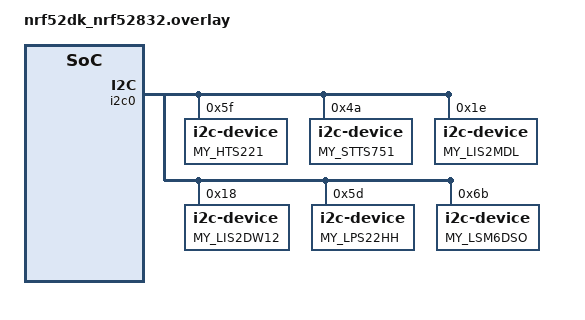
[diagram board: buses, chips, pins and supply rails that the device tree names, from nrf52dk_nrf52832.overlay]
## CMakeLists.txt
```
# SPDX-License-Identifier: Apache-2.0

cmake_minimum_required(VERSION 3.20.0)

find_package(Zephyr REQUIRED HINTS $ENV{ZEPHYR_BASE})
project(hello_world)

target_include_directories(app PRIVATE inc)

target_sources(app PRIVATE src/homework_6.c)
```

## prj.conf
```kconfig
# General
CONFIG_SMF=y
CONFIG_EVENTS=y

# Logger Module and printk Module
CONFIG_LOG=y
CONFIG_LOG_PRINTK=y

# Float Point Unit (for sending data via bluetooth, limited to 23 bytes)
CONFIG_FPU=y

# Bluetooth Module
CONFIG_BT=y
CONFIG_BT_PERIPHERAL=y

CONFIG_BT_DEVICE_NAME="Arty_Chan"

# The hardware and board expansion module
CONFIG_I2C=y
```

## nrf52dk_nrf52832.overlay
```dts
// To get started, press Ctrl+Space to bring up the completion menu and view the available nodes.

// You can also use the buttons in the sidebar to perform actions on nodes.
// Actions currently available include:

// * Enabling / disabling the node
// * Adding the bus to a bus
// * Removing the node
// * Connecting ADC channels

// For more help, browse the DeviceTree documentation at https://docs.zephyrproject.org/latest/guides/dts/index.html
// You can also visit the nRF DeviceTree extension documentation at https://nrfconnect.github.io/vscode-nrf-connect/devicetree/nrfdevicetree.html


// This is for the Zephry Overlay Setup
&i2c0{
    // Capactive digital relatice humidity and temperature [measures temp of an external transistor] [originally was 0xbe but shifted 1 and now 0x5f] IMPLEMENTED IN CODE 
    my_hts221: my_hts221@5f{
        compatible = "i2c-device";
        reg = < 0x5f >;
        label = "MY_HTS221";
    };

    // Temperature sensor (-40C to 125C) [physcial properties] [originally was 0x94 but shifted 1 and now 0x4a] IMPLEMENTED IN CODE
    my_stts751: my_stts751@4a{
        compatible = "i2c-device";
        reg = < 0x4a >;
        label = "MY_STTS751";
    };

    // MEMs 3D Magnetometer (+-50 gauss) [orignally was 0x3c but shifted 1 and now 0x1e] IMPLEMENTED IN CODE
    my_lis2mdl: my_lis2mdl@1e{
        compatible = "i2c-device";
        reg = < 0x1e >;
        label = "MY_LIS2MDL";
    };

    // MEMs 3D Accelerometer (+-2, +-4, +-8, +-16 g) [originally was 0x30 but shifted 1 and now 0x18] IMPLEMENTED IN CODE
    my_lis2dw12: my_lis2dw12@18{
        compatible = "i2c-device";
        reg = < 0x18 >;
        label = "MY_LIS2DW12";
    };

    // MEMs pressure sensor (260-1260 hPa absolute digital output barometer)
    my_lps22hh: my_lps22hh@5d{
        compatible = "i2c-device";
        reg = < 0x5d >;
        label = "MY_LPS22HH";
    };

    //MEMS 3D Accelerometer + 3D Gyroscope
    my_lsm6dso: my_lsm6dso@6b{
        compatible = "i2c-device";
        reg = < 0x6b >;
        label = "MY_LSM6DSO";
    };
};
```

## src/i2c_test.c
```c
/*
 * Link for Nucleo Datasheet: https://www.st.com/resource/en/data_brief/x-nucleo-iks01a3.pdf 
 * Link for Dev Academy: https://academy.nordicsemi.com/courses/nrf-connect-sdk-fundamentals/
 * Link for Nucleo Datasheet: https://www.st.com/resource/en/user_manual/um2559-getting-started-with-the-xnucleoiks01a3-motion-mems-and-environmental-sensor-expansion-board-for-stm32-nucleo-stmicroelectronics.pdf 
 * 
 * HINT:
 * WHEN ADDING A NEW SENSOR TO THE OVERLAY FILE, I NEED TO REBUILD THE ENTIRE PROGRAM
*/

/***
 * File to test that I2C is working with the HTS221. 
 * NOTE: The sensor and the nRF board are a bit picky.
 *       Since there is no RESET button on the sensor
 *          board, you'll have to unplug your nRF board
 *          if you get an I2C error (just something got
 *          goofed) and replug in.
 * NOTE: Also, make sure you do a pristine build (circle arrow icon).
 * 
*/

#include <zephyr/kernel.h>
#include <zephyr/device.h>
#include <zephyr/drivers/gpio.h>
#include <zephyr/smf.h>
#include <zephyr/logging/log.h>
#include <zephyr/drivers/i2c.h>


LOG_MODULE_REGISTER(i2c_test, LOG_LEVEL_DBG);


void main(void) {
    uint8_t i2c_buf_write[2], i2c_buf_read[2];
    int err;
    LOG_INF("Board is up!  Setting up I2C...");
    const struct i2c_dt_spec hts221_dt_spec = I2C_DT_SPEC_GET(DT_NODELABEL(my_hts221));
    if (!device_is_ready(hts221_dt_spec.bus)) {
        LOG_ERR("I2C initialization failed for some reason!");
        return;
    }
    k_sleep(K_SECONDS(1));

    LOG_INF("Checking individual I2C write/read..."); 
    {
        i2c_buf_write[0] = 0x0f;  // write that we want the WHOAMI register
        err = i2c_write_dt(&hts221_dt_spec, &i2c_buf_write[0], 1);
        if (err < 0) {
            LOG_ERR("i2c_write_dt() failed with err: %d", err);
            return;
        }

        err = i2c_read_dt(&hts221_dt_spec, &i2c_buf_read[0], 1);
        if (err < 0) {
            LOG_ERR("i2c_read_dt() failed with err: %d", err);
            return;
        }
        LOG_INF("Received this from asking 0x0f: 0x%2x", i2c_buf_read[0]);
        LOG_INF("!Check that we have the value 0xbc!");
    }
    k_sleep(K_SECONDS(1));

    LOG_INF("Checking combined I2C write/read command..."); 
    {
        i2c_buf_write[0] = 0x0f;  // write that we want the WHOAMI register
        err = i2c_write_read_dt(&hts221_dt_spec, &i2c_buf_write[0], 1, &i2c_buf_read[0], 1);
        if (err < 0) {
            LOG_ERR("i2c_write_read_dt() failed with err: %d", err);
            return;
        }
        LOG_INF("Received this from asking 0x0f: 0x%2x", i2c_buf_read[0]);
        LOG_INF("!Check that we have the value 0xbc!");
    }
    k_sleep(K_SECONDS(1));

    LOG_INF("Checking I2C register read command..."); 
    {
        i2c_buf_write[0] = 0x0f;  // write that we want the WHOAMI register
        err = i2c_reg_read_byte_dt(&hts221_dt_spec, 0x0f, &i2c_buf_read[0]);
        if (err < 0) {
            LOG_ERR("i2c_write_read_dt() failed with err: %d", err);
            return;
        }
        LOG_INF("Received this from asking 0x0f: 0x%2x", i2c_buf_read[0]);
        LOG_INF("!Check that we have the value 0xbc!");
    }
}
```
